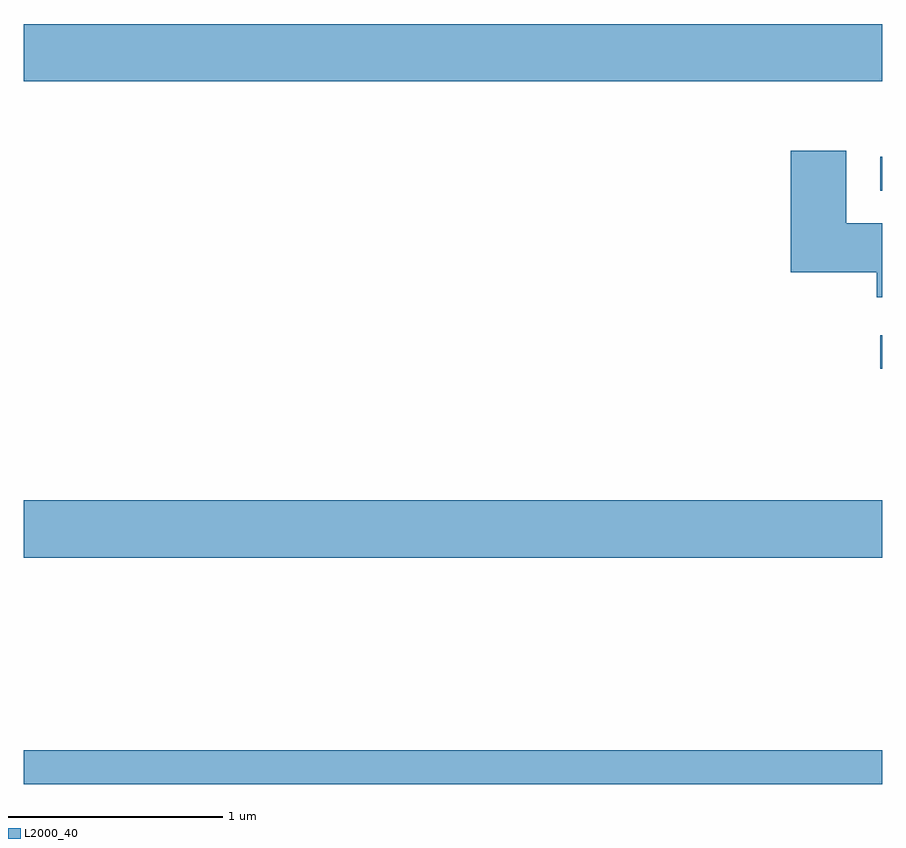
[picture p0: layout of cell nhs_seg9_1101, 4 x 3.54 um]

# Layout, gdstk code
import gdstk
lib = gdstk.Library(unit=1e-6, precision=1e-09)
def R(c, l, rs):  # rectangles x0, y0, x1, y1
    for r in rs: c.add(gdstk.rectangle(r[:2], r[2:], *l))
def P(c, l, *ps):  # polygons
    for p in ps: c.add(gdstk.Polygon(p, *l))
L2000_40 = (2000, 40)

nhs_seg9_1101 = lib.new_cell('nhs_seg9_1101')
R(nhs_seg9_1101, L2000_40, [(217.611,1970.781,221.611,1970.939), (217.611,1971.836,221.611,1972.104), (221.603,1972.716,221.611,1972.874), (221.603,1973.546,221.611,1973.704), (217.611,1974.056,221.611,1974.324)])
P(nhs_seg9_1101, L2000_40, [(221.611,1973.394),(221.444,1973.394),(221.444,1973.734),(221.186,1973.734),(221.186,1973.166),(221.586,1973.166),(221.586,1973.051),(221.611,1973.051)])

lib.write_gds('nhs_seg9_1101.gds')
